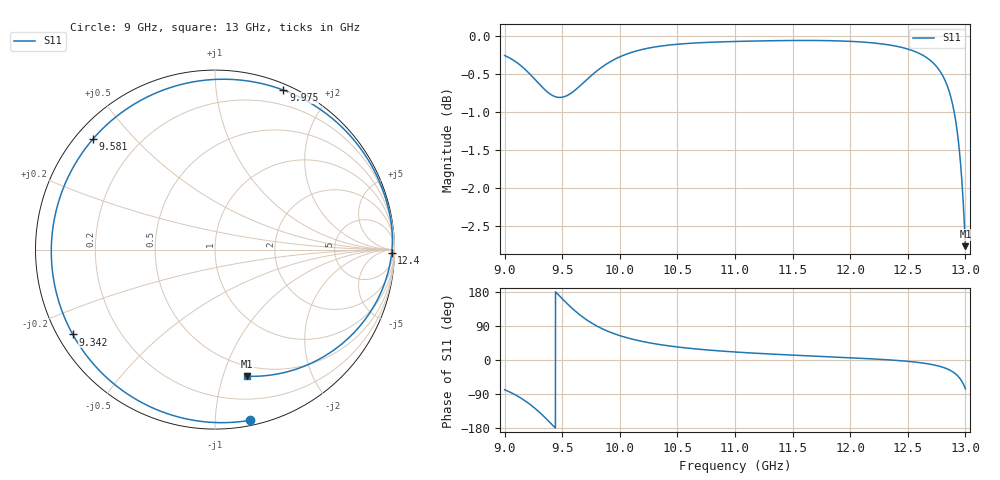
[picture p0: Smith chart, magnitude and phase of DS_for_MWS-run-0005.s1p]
! TOUCHSTONE file generated by CST DESIGN STUDIO
! Date and time: Tue Feb  4 16:45:56 2025
! Project name: C:\Work\MatlabApps\UnitCellOptimizationMatlab\CST\unitcell.cst
! Tree item: Tasks\Sweep1\SPara1\S-Parameters
! Header version: 2024
! Port assignment regex: !\s*Touchstone port\s*([0-9]+)\s*=\s*(CST MWS port|CST DES external port|CST DES block port)\s*(.+)\s* \(\"(.*)\"\)(\s*mode\s*([0-9]+))?.*
! Touchstone port assignment:
! Touchstone port 1 = CST DES external port 1 ("")
# GHz S MA R 50
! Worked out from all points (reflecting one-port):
!   4001 points, 9 GHz to 13 GHz, reference 50 ohm
!   lowest |S11| = -2.8 dB at 13 GHz (marker M1), VSWR 6.34, Z = 20 - j60 ohm
!   phase of S11 starts at -78 deg and turns -358 deg over the sweep
!   S11 on the Smith chart (normalised r, x): 9 GHz: 0.04, -1.23; 9.342 GHz: 0.04, -0.28; 9.581 GHz: 0.05, +0.39; 9.975 GHz: 0.06, +1.51; 12.4 GHz: 60, -65; 13 GHz: 0.40, -1.20
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9  0.9708 -78.3
9.107  0.9605 -94.3
9.191  0.9486 -110.5
9.267  0.9356 -128.5
9.342  0.9229 -149.2
9.422  0.9134 -173.7
9.5  0.9115 161.7
9.581  0.9175 137.8
9.658  0.9278 117.9
9.742  0.9403 100.0
9.857  0.9554 81.1
9.975  0.9669 66.8
10  0.9689 64.3
10.102  0.9754 55.5
10.216  0.9806 47.7
10.5  0.9875 34.4
11  0.9917 21.1
11.5  0.9931 12.9
12  0.9918 5.9
12.396  0.9847 -1.0
12.5  0.9804 -3.6
12.713  0.9612 -12.1
12.796  0.9437 -18.4
12.858  0.9201 -25.7
12.9  0.8934 -33.2
12.935  0.8582 -42.5
12.96  0.8211 -51.9
13  0.7277 -75.9
